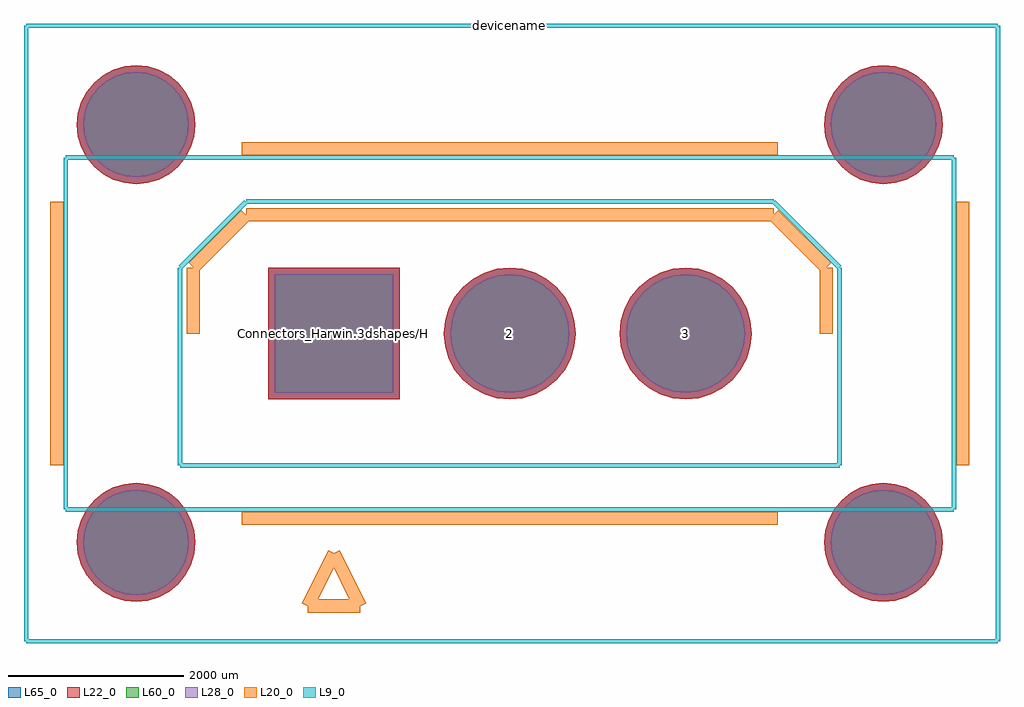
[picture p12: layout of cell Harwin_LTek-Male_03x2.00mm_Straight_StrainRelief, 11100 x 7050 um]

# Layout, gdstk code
import gdstk
lib = gdstk.Library(unit=1e-6, precision=1e-09)
def R(c, l, rs):  # rectangles x0, y0, x1, y1
    for r in rs: c.add(gdstk.rectangle(r[:2], r[2:], *l))
def P(c, l, *ps):  # polygons
    for p in ps: c.add(gdstk.Polygon(p, *l))
L9_0 = (9, 0)
L20_0 = (20, 0)
L22_0 = (22, 0)
L28_0 = (28, 0)
L60_0 = (60, 0)
L65_0 = (65, 0)

harwin_ltek_male_03x2_00 = lib.new_cell('Harwin_LTek-Male_03x2.00mm_Straight_StrainRelief')
R(harwin_ltek_male_03x2_00, L22_0, [(-750,-750,750,750)])
P(harwin_ltek_male_03x2_00, L22_0, [(6925,-2375),(6912.03,-2243.314),(6873.619,-2116.689),(6811.242,-1999.99),(6727.297,-1897.703),(6625.01,-1813.758),(6508.311,-1751.381),(6381.686,-1712.97),(6250,-1700),(6118.314,-1712.97),(5991.689,-1751.381),(5874.99,-1813.758),(5772.703,-1897.703),(5688.758,-1999.99),(5626.381,-2116.689),(5587.97,-2243.314),(5575,-2375),(5587.97,-2506.686),(5626.381,-2633.311),(5688.758,-2750.01),(5772.703,-2852.297),(5874.99,-2936.242),(5991.689,-2998.619),(6118.314,-3037.03),(6250,-3050),(6381.686,-3037.03),(6508.311,-2998.619),(6625.01,-2936.242),(6727.297,-2852.297),(6811.242,-2750.01),(6873.619,-2633.311),(6912.03,-2506.686)],
  [(6925,2375),(6912.03,2506.686),(6873.619,2633.311),(6811.242,2750.01),(6727.297,2852.297),(6625.01,2936.242),(6508.311,2998.619),(6381.686,3037.03),(6250,3050),(6118.314,3037.03),(5991.689,2998.619),(5874.99,2936.242),(5772.703,2852.297),(5688.758,2750.01),(5626.381,2633.311),(5587.97,2506.686),(5575,2375),(5587.97,2243.314),(5626.381,2116.689),(5688.758,1999.99),(5772.703,1897.703),(5874.99,1813.758),(5991.689,1751.381),(6118.314,1712.97),(6250,1700),(6381.686,1712.97),(6508.311,1751.381),(6625.01,1813.758),(6727.297,1897.703),(6811.242,1999.99),(6873.619,2116.689),(6912.03,2243.314)],
  [(-1575,-2375),(-1587.97,-2243.314),(-1626.381,-2116.689),(-1688.758,-1999.99),(-1772.703,-1897.703),(-1874.99,-1813.758),(-1991.689,-1751.381),(-2118.314,-1712.97),(-2250,-1700),(-2381.686,-1712.97),(-2508.311,-1751.381),(-2625.01,-1813.758),(-2727.297,-1897.703),(-2811.242,-1999.99),(-2873.619,-2116.689),(-2912.03,-2243.314),(-2925,-2375),(-2912.03,-2506.686),(-2873.619,-2633.311),(-2811.242,-2750.01),(-2727.297,-2852.297),(-2625.01,-2936.242),(-2508.311,-2998.619),(-2381.686,-3037.03),(-2250,-3050),(-2118.314,-3037.03),(-1991.689,-2998.619),(-1874.99,-2936.242),(-1772.703,-2852.297),(-1688.758,-2750.01),(-1626.381,-2633.311),(-1587.97,-2506.686)],
  [(-1575,2375),(-1587.97,2506.686),(-1626.381,2633.311),(-1688.758,2750.01),(-1772.703,2852.297),(-1874.99,2936.242),(-1991.689,2998.619),(-2118.314,3037.03),(-2250,3050),(-2381.686,3037.03),(-2508.311,2998.619),(-2625.01,2936.242),(-2727.297,2852.297),(-2811.242,2750.01),(-2873.619,2633.311),(-2912.03,2506.686),(-2925,2375),(-2912.03,2243.314),(-2873.619,2116.689),(-2811.242,1999.99),(-2727.297,1897.703),(-2625.01,1813.758),(-2508.311,1751.381),(-2381.686,1712.97),(-2250,1700),(-2118.314,1712.97),(-1991.689,1751.381),(-1874.99,1813.758),(-1772.703,1897.703),(-1688.758,1999.99),(-1626.381,2116.689),(-1587.97,2243.314)],
  [(4750,0),(4735.589,146.318),(4692.91,287.013),(4623.602,416.678),(4530.33,530.33),(4416.678,623.602),(4287.013,692.91),(4146.318,735.589),(4000,750),(3853.682,735.589),(3712.987,692.91),(3583.322,623.602),(3469.67,530.33),(3376.398,416.678),(3307.09,287.013),(3264.411,146.318),(3250,0),(3264.411,-146.318),(3307.09,-287.013),(3376.398,-416.678),(3469.67,-530.33),(3583.322,-623.602),(3712.987,-692.91),(3853.682,-735.589),(4000,-750),(4146.318,-735.589),(4287.013,-692.91),(4416.678,-623.602),(4530.33,-530.33),(4623.602,-416.678),(4692.91,-287.013),(4735.589,-146.318)],
  [(2750,0),(2735.589,146.318),(2692.91,287.013),(2623.602,416.678),(2530.33,530.33),(2416.678,623.602),(2287.013,692.91),(2146.318,735.589),(2000,750),(1853.682,735.589),(1712.987,692.91),(1583.322,623.602),(1469.67,530.33),(1376.398,416.678),(1307.09,287.013),(1264.411,146.318),(1250,0),(1264.411,-146.318),(1307.09,-287.013),(1376.398,-416.678),(1469.67,-530.33),(1583.322,-623.602),(1712.987,-692.91),(1853.682,-735.589),(2000,-750),(2146.318,-735.589),(2287.013,-692.91),(2416.678,-623.602),(2530.33,-530.33),(2623.602,-416.678),(2692.91,-287.013),(2735.589,-146.318)])
R(harwin_ltek_male_03x2_00, L28_0, [(-675,-675,675,675)])
P(harwin_ltek_male_03x2_00, L28_0, [(6850,-2375),(6838.471,-2257.946),(6804.328,-2145.39),(6748.882,-2041.658),(6674.264,-1950.736),(6583.342,-1876.118),(6479.61,-1820.672),(6367.054,-1786.529),(6250,-1775),(6132.946,-1786.529),(6020.39,-1820.672),(5916.658,-1876.118),(5825.736,-1950.736),(5751.118,-2041.658),(5695.672,-2145.39),(5661.529,-2257.946),(5650,-2375),(5661.529,-2492.054),(5695.672,-2604.61),(5751.118,-2708.342),(5825.736,-2799.264),(5916.658,-2873.882),(6020.39,-2929.328),(6132.946,-2963.471),(6250,-2975),(6367.054,-2963.471),(6479.61,-2929.328),(6583.342,-2873.882),(6674.264,-2799.264),(6748.882,-2708.342),(6804.328,-2604.61),(6838.471,-2492.054)],
  [(6850,2375),(6838.471,2492.054),(6804.328,2604.61),(6748.882,2708.342),(6674.264,2799.264),(6583.342,2873.882),(6479.61,2929.328),(6367.054,2963.471),(6250,2975),(6132.946,2963.471),(6020.39,2929.328),(5916.658,2873.882),(5825.736,2799.264),(5751.118,2708.342),(5695.672,2604.61),(5661.529,2492.054),(5650,2375),(5661.529,2257.946),(5695.672,2145.39),(5751.118,2041.658),(5825.736,1950.736),(5916.658,1876.118),(6020.39,1820.672),(6132.946,1786.529),(6250,1775),(6367.054,1786.529),(6479.61,1820.672),(6583.342,1876.118),(6674.264,1950.736),(6748.882,2041.658),(6804.328,2145.39),(6838.471,2257.946)],
  [(-1650,-2375),(-1661.529,-2257.946),(-1695.672,-2145.39),(-1751.118,-2041.658),(-1825.736,-1950.736),(-1916.658,-1876.118),(-2020.39,-1820.672),(-2132.946,-1786.529),(-2250,-1775),(-2367.054,-1786.529),(-2479.61,-1820.672),(-2583.342,-1876.118),(-2674.264,-1950.736),(-2748.882,-2041.658),(-2804.328,-2145.39),(-2838.471,-2257.946),(-2850,-2375),(-2838.471,-2492.054),(-2804.328,-2604.61),(-2748.882,-2708.342),(-2674.264,-2799.264),(-2583.342,-2873.882),(-2479.61,-2929.328),(-2367.054,-2963.471),(-2250,-2975),(-2132.946,-2963.471),(-2020.39,-2929.328),(-1916.658,-2873.882),(-1825.736,-2799.264),(-1751.118,-2708.342),(-1695.672,-2604.61),(-1661.529,-2492.054)],
  [(-1650,2375),(-1661.529,2492.054),(-1695.672,2604.61),(-1751.118,2708.342),(-1825.736,2799.264),(-1916.658,2873.882),(-2020.39,2929.328),(-2132.946,2963.471),(-2250,2975),(-2367.054,2963.471),(-2479.61,2929.328),(-2583.342,2873.882),(-2674.264,2799.264),(-2748.882,2708.342),(-2804.328,2604.61),(-2838.471,2492.054),(-2850,2375),(-2838.471,2257.946),(-2804.328,2145.39),(-2748.882,2041.658),(-2674.264,1950.736),(-2583.342,1876.118),(-2479.61,1820.672),(-2367.054,1786.529),(-2250,1775),(-2132.946,1786.529),(-2020.39,1820.672),(-1916.658,1876.118),(-1825.736,1950.736),(-1751.118,2041.658),(-1695.672,2145.39),(-1661.529,2257.946)],
  [(4675,0),(4662.03,131.686),(4623.619,258.311),(4561.242,375.01),(4477.297,477.297),(4375.01,561.242),(4258.311,623.619),(4131.686,662.03),(4000,675),(3868.314,662.03),(3741.689,623.619),(3624.99,561.242),(3522.703,477.297),(3438.758,375.01),(3376.381,258.311),(3337.97,131.686),(3325,0),(3337.97,-131.686),(3376.381,-258.311),(3438.758,-375.01),(3522.703,-477.297),(3624.99,-561.242),(3741.689,-623.619),(3868.314,-662.03),(4000,-675),(4131.686,-662.03),(4258.311,-623.619),(4375.01,-561.242),(4477.297,-477.297),(4561.242,-375.01),(4623.619,-258.311),(4662.03,-131.686)],
  [(2675,0),(2662.03,131.686),(2623.619,258.311),(2561.242,375.01),(2477.297,477.297),(2375.01,561.242),(2258.311,623.619),(2131.686,662.03),(2000,675),(1868.314,662.03),(1741.689,623.619),(1624.99,561.242),(1522.703,477.297),(1438.758,375.01),(1376.381,258.311),(1337.97,131.686),(1325,0),(1337.97,-131.686),(1376.381,-258.311),(1438.758,-375.01),(1522.703,-477.297),(1624.99,-561.242),(1741.689,-623.619),(1868.314,-662.03),(2000,-675),(2131.686,-662.03),(2258.311,-623.619),(2375.01,-561.242),(2477.297,-477.297),(2561.242,-375.01),(2623.619,-258.311),(2662.03,-131.686)])
R(harwin_ltek_male_03x2_00, L60_0, [(-675,-675,675,675)])
P(harwin_ltek_male_03x2_00, L60_0, [(6850,-2375),(6838.471,-2257.946),(6804.328,-2145.39),(6748.882,-2041.658),(6674.264,-1950.736),(6583.342,-1876.118),(6479.61,-1820.672),(6367.054,-1786.529),(6250,-1775),(6132.946,-1786.529),(6020.39,-1820.672),(5916.658,-1876.118),(5825.736,-1950.736),(5751.118,-2041.658),(5695.672,-2145.39),(5661.529,-2257.946),(5650,-2375),(5661.529,-2492.054),(5695.672,-2604.61),(5751.118,-2708.342),(5825.736,-2799.264),(5916.658,-2873.882),(6020.39,-2929.328),(6132.946,-2963.471),(6250,-2975),(6367.054,-2963.471),(6479.61,-2929.328),(6583.342,-2873.882),(6674.264,-2799.264),(6748.882,-2708.342),(6804.328,-2604.61),(6838.471,-2492.054)],
  [(6850,2375),(6838.471,2492.054),(6804.328,2604.61),(6748.882,2708.342),(6674.264,2799.264),(6583.342,2873.882),(6479.61,2929.328),(6367.054,2963.471),(6250,2975),(6132.946,2963.471),(6020.39,2929.328),(5916.658,2873.882),(5825.736,2799.264),(5751.118,2708.342),(5695.672,2604.61),(5661.529,2492.054),(5650,2375),(5661.529,2257.946),(5695.672,2145.39),(5751.118,2041.658),(5825.736,1950.736),(5916.658,1876.118),(6020.39,1820.672),(6132.946,1786.529),(6250,1775),(6367.054,1786.529),(6479.61,1820.672),(6583.342,1876.118),(6674.264,1950.736),(6748.882,2041.658),(6804.328,2145.39),(6838.471,2257.946)],
  [(-1650,-2375),(-1661.529,-2257.946),(-1695.672,-2145.39),(-1751.118,-2041.658),(-1825.736,-1950.736),(-1916.658,-1876.118),(-2020.39,-1820.672),(-2132.946,-1786.529),(-2250,-1775),(-2367.054,-1786.529),(-2479.61,-1820.672),(-2583.342,-1876.118),(-2674.264,-1950.736),(-2748.882,-2041.658),(-2804.328,-2145.39),(-2838.471,-2257.946),(-2850,-2375),(-2838.471,-2492.054),(-2804.328,-2604.61),(-2748.882,-2708.342),(-2674.264,-2799.264),(-2583.342,-2873.882),(-2479.61,-2929.328),(-2367.054,-2963.471),(-2250,-2975),(-2132.946,-2963.471),(-2020.39,-2929.328),(-1916.658,-2873.882),(-1825.736,-2799.264),(-1751.118,-2708.342),(-1695.672,-2604.61),(-1661.529,-2492.054)],
  [(-1650,2375),(-1661.529,2492.054),(-1695.672,2604.61),(-1751.118,2708.342),(-1825.736,2799.264),(-1916.658,2873.882),(-2020.39,2929.328),(-2132.946,2963.471),(-2250,2975),(-2367.054,2963.471),(-2479.61,2929.328),(-2583.342,2873.882),(-2674.264,2799.264),(-2748.882,2708.342),(-2804.328,2604.61),(-2838.471,2492.054),(-2850,2375),(-2838.471,2257.946),(-2804.328,2145.39),(-2748.882,2041.658),(-2674.264,1950.736),(-2583.342,1876.118),(-2479.61,1820.672),(-2367.054,1786.529),(-2250,1775),(-2132.946,1786.529),(-2020.39,1820.672),(-1916.658,1876.118),(-1825.736,1950.736),(-1751.118,2041.658),(-1695.672,2145.39),(-1661.529,2257.946)],
  [(4675,0),(4662.03,131.686),(4623.619,258.311),(4561.242,375.01),(4477.297,477.297),(4375.01,561.242),(4258.311,623.619),(4131.686,662.03),(4000,675),(3868.314,662.03),(3741.689,623.619),(3624.99,561.242),(3522.703,477.297),(3438.758,375.01),(3376.381,258.311),(3337.97,131.686),(3325,0),(3337.97,-131.686),(3376.381,-258.311),(3438.758,-375.01),(3522.703,-477.297),(3624.99,-561.242),(3741.689,-623.619),(3868.314,-662.03),(4000,-675),(4131.686,-662.03),(4258.311,-623.619),(4375.01,-561.242),(4477.297,-477.297),(4561.242,-375.01),(4623.619,-258.311),(4662.03,-131.686)],
  [(2675,0),(2662.03,131.686),(2623.619,258.311),(2561.242,375.01),(2477.297,477.297),(2375.01,561.242),(2258.311,623.619),(2131.686,662.03),(2000,675),(1868.314,662.03),(1741.689,623.619),(1624.99,561.242),(1522.703,477.297),(1438.758,375.01),(1376.381,258.311),(1337.97,131.686),(1325,0),(1337.97,-131.686),(1376.381,-258.311),(1438.758,-375.01),(1522.703,-477.297),(1624.99,-561.242),(1741.689,-623.619),(1868.314,-662.03),(2000,-675),(2131.686,-662.03),(2258.311,-623.619),(2375.01,-561.242),(2477.297,-477.297),(2561.242,-375.01),(2623.619,-258.311),(2662.03,-131.686)])
R(harwin_ltek_male_03x2_00, L65_0, [(-750,-750,750,750)])
P(harwin_ltek_male_03x2_00, L65_0, [(6925,-2375),(6912.03,-2243.314),(6873.619,-2116.689),(6811.242,-1999.99),(6727.297,-1897.703),(6625.01,-1813.758),(6508.311,-1751.381),(6381.686,-1712.97),(6250,-1700),(6118.314,-1712.97),(5991.689,-1751.381),(5874.99,-1813.758),(5772.703,-1897.703),(5688.758,-1999.99),(5626.381,-2116.689),(5587.97,-2243.314),(5575,-2375),(5587.97,-2506.686),(5626.381,-2633.311),(5688.758,-2750.01),(5772.703,-2852.297),(5874.99,-2936.242),(5991.689,-2998.619),(6118.314,-3037.03),(6250,-3050),(6381.686,-3037.03),(6508.311,-2998.619),(6625.01,-2936.242),(6727.297,-2852.297),(6811.242,-2750.01),(6873.619,-2633.311),(6912.03,-2506.686)],
  [(6925,2375),(6912.03,2506.686),(6873.619,2633.311),(6811.242,2750.01),(6727.297,2852.297),(6625.01,2936.242),(6508.311,2998.619),(6381.686,3037.03),(6250,3050),(6118.314,3037.03),(5991.689,2998.619),(5874.99,2936.242),(5772.703,2852.297),(5688.758,2750.01),(5626.381,2633.311),(5587.97,2506.686),(5575,2375),(5587.97,2243.314),(5626.381,2116.689),(5688.758,1999.99),(5772.703,1897.703),(5874.99,1813.758),(5991.689,1751.381),(6118.314,1712.97),(6250,1700),(6381.686,1712.97),(6508.311,1751.381),(6625.01,1813.758),(6727.297,1897.703),(6811.242,1999.99),(6873.619,2116.689),(6912.03,2243.314)],
  [(-1575,-2375),(-1587.97,-2243.314),(-1626.381,-2116.689),(-1688.758,-1999.99),(-1772.703,-1897.703),(-1874.99,-1813.758),(-1991.689,-1751.381),(-2118.314,-1712.97),(-2250,-1700),(-2381.686,-1712.97),(-2508.311,-1751.381),(-2625.01,-1813.758),(-2727.297,-1897.703),(-2811.242,-1999.99),(-2873.619,-2116.689),(-2912.03,-2243.314),(-2925,-2375),(-2912.03,-2506.686),(-2873.619,-2633.311),(-2811.242,-2750.01),(-2727.297,-2852.297),(-2625.01,-2936.242),(-2508.311,-2998.619),(-2381.686,-3037.03),(-2250,-3050),(-2118.314,-3037.03),(-1991.689,-2998.619),(-1874.99,-2936.242),(-1772.703,-2852.297),(-1688.758,-2750.01),(-1626.381,-2633.311),(-1587.97,-2506.686)],
  [(-1575,2375),(-1587.97,2506.686),(-1626.381,2633.311),(-1688.758,2750.01),(-1772.703,2852.297),(-1874.99,2936.242),(-1991.689,2998.619),(-2118.314,3037.03),(-2250,3050),(-2381.686,3037.03),(-2508.311,2998.619),(-2625.01,2936.242),(-2727.297,2852.297),(-2811.242,2750.01),(-2873.619,2633.311),(-2912.03,2506.686),(-2925,2375),(-2912.03,2243.314),(-2873.619,2116.689),(-2811.242,1999.99),(-2727.297,1897.703),(-2625.01,1813.758),(-2508.311,1751.381),(-2381.686,1712.97),(-2250,1700),(-2118.314,1712.97),(-1991.689,1751.381),(-1874.99,1813.758),(-1772.703,1897.703),(-1688.758,1999.99),(-1626.381,2116.689),(-1587.97,2243.314)],
  [(4750,0),(4735.589,146.318),(4692.91,287.013),(4623.602,416.678),(4530.33,530.33),(4416.678,623.602),(4287.013,692.91),(4146.318,735.589),(4000,750),(3853.682,735.589),(3712.987,692.91),(3583.322,623.602),(3469.67,530.33),(3376.398,416.678),(3307.09,287.013),(3264.411,146.318),(3250,0),(3264.411,-146.318),(3307.09,-287.013),(3376.398,-416.678),(3469.67,-530.33),(3583.322,-623.602),(3712.987,-692.91),(3853.682,-735.589),(4000,-750),(4146.318,-735.589),(4287.013,-692.91),(4416.678,-623.602),(4530.33,-530.33),(4623.602,-416.678),(4692.91,-287.013),(4735.589,-146.318)],
  [(2750,0),(2735.589,146.318),(2692.91,287.013),(2623.602,416.678),(2530.33,530.33),(2416.678,623.602),(2287.013,692.91),(2146.318,735.589),(2000,750),(1853.682,735.589),(1712.987,692.91),(1583.322,623.602),(1469.67,530.33),(1376.398,416.678),(1307.09,287.013),(1264.411,146.318),(1250,0),(1264.411,-146.318),(1307.09,-287.013),(1376.398,-416.678),(1469.67,-530.33),(1583.322,-623.602),(1712.987,-692.91),(1853.682,-735.589),(2000,-750),(2146.318,-735.589),(2287.013,-692.91),(2416.678,-623.602),(2530.33,-530.33),(2623.602,-416.678),(2692.91,-287.013),(2735.589,-146.318)])
harwin_ltek_male_03x2_00.add(gdstk.FlexPath([(300,-3100),(0,-2500)], 149.998, ends="flush", simple_path=True, layer=20, datatype=0))  # L20_0
harwin_ltek_male_03x2_00.add(gdstk.FlexPath([(-300,-3100),(300,-3100)], 149.998, ends="flush", simple_path=True, layer=20, datatype=0))  # L20_0
harwin_ltek_male_03x2_00.add(gdstk.FlexPath([(0,-2500),(-300,-3100)], 149.998, ends="flush", simple_path=True, layer=20, datatype=0))  # L20_0
harwin_ltek_male_03x2_00.add(gdstk.FlexPath([(5000,1350),(2000,1350)], 149.998, ends="flush", simple_path=True, layer=20, datatype=0))  # L20_0
harwin_ltek_male_03x2_00.add(gdstk.FlexPath([(5600,750),(5000,1350)], 149.998, ends="flush", simple_path=True, layer=20, datatype=0))  # L20_0
harwin_ltek_male_03x2_00.add(gdstk.FlexPath([(5600,0),(5600,750)], 149.998, ends="flush", simple_path=True, layer=20, datatype=0))  # L20_0
harwin_ltek_male_03x2_00.add(gdstk.FlexPath([(-1000,1350),(2000,1350)], 149.998, ends="flush", simple_path=True, layer=20, datatype=0))  # L20_0
harwin_ltek_male_03x2_00.add(gdstk.FlexPath([(-1600,750),(-1000,1350)], 149.998, ends="flush", simple_path=True, layer=20, datatype=0))  # L20_0
harwin_ltek_male_03x2_00.add(gdstk.FlexPath([(-1600,0),(-1600,750)], 149.998, ends="flush", simple_path=True, layer=20, datatype=0))  # L20_0
harwin_ltek_male_03x2_00.add(gdstk.FlexPath([(5750,-1500),(-1750,-1500)], 50, ends="flush", simple_path=True, layer=9, datatype=0))  # L9_0
harwin_ltek_male_03x2_00.add(gdstk.FlexPath([(5750,750),(5750,-1500)], 50, ends="flush", simple_path=True, layer=9, datatype=0))  # L9_0
harwin_ltek_male_03x2_00.add(gdstk.FlexPath([(5000,1500),(5750,750)], 50, ends="flush", simple_path=True, layer=9, datatype=0))  # L9_0
harwin_ltek_male_03x2_00.add(gdstk.FlexPath([(-1000,1500),(5000,1500)], 50, ends="flush", simple_path=True, layer=9, datatype=0))  # L9_0
harwin_ltek_male_03x2_00.add(gdstk.FlexPath([(-1750,750),(-1000,1500)], 50, ends="flush", simple_path=True, layer=9, datatype=0))  # L9_0
harwin_ltek_male_03x2_00.add(gdstk.FlexPath([(-1750,-1500),(-1750,750)], 50, ends="flush", simple_path=True, layer=9, datatype=0))  # L9_0
harwin_ltek_male_03x2_00.add(gdstk.FlexPath([(7050,2000),(-3050,2000)], 50, ends="flush", simple_path=True, layer=9, datatype=0))  # L9_0
harwin_ltek_male_03x2_00.add(gdstk.FlexPath([(7050,-2000),(7050,2000)], 50, ends="flush", simple_path=True, layer=9, datatype=0))  # L9_0
harwin_ltek_male_03x2_00.add(gdstk.FlexPath([(-3050,-2000),(7050,-2000)], 50, ends="flush", simple_path=True, layer=9, datatype=0))  # L9_0
harwin_ltek_male_03x2_00.add(gdstk.FlexPath([(-3050,2000),(-3050,-2000)], 50, ends="flush", simple_path=True, layer=9, datatype=0))  # L9_0
harwin_ltek_male_03x2_00.add(gdstk.FlexPath([(7550,3500),(-3500,3500)], 50, ends="flush", simple_path=True, layer=9, datatype=0))  # L9_0
harwin_ltek_male_03x2_00.add(gdstk.FlexPath([(7550,-3500),(7550,3500)], 50, ends="flush", simple_path=True, layer=9, datatype=0))  # L9_0
harwin_ltek_male_03x2_00.add(gdstk.FlexPath([(-3500,-3500),(7550,-3500)], 50, ends="flush", simple_path=True, layer=9, datatype=0))  # L9_0
harwin_ltek_male_03x2_00.add(gdstk.FlexPath([(-3500,3500),(-3500,-3500)], 50, ends="flush", simple_path=True, layer=9, datatype=0))  # L9_0
harwin_ltek_male_03x2_00.add(gdstk.FlexPath([(7150,1500),(7150,-1500)], 149.998, ends="flush", simple_path=True, layer=20, datatype=0))  # L20_0
harwin_ltek_male_03x2_00.add(gdstk.FlexPath([(-3150,1500),(-3150,-1500)], 149.998, ends="flush", simple_path=True, layer=20, datatype=0))  # L20_0
harwin_ltek_male_03x2_00.add(gdstk.FlexPath([(-1050,-2100),(5050,-2100)], 149.998, ends="flush", simple_path=True, layer=20, datatype=0))  # L20_0
harwin_ltek_male_03x2_00.add(gdstk.FlexPath([(-1050,2100),(5050,2100)], 149.998, ends="flush", simple_path=True, layer=20, datatype=0))  # L20_0
harwin_ltek_male_03x2_00.add(gdstk.Label('Connectors_Harwin.3dshapes/Harwin_LTek-Male_03x2.00mm_Straight_StrainRelief.wrl', (0,0), layer=12, texttype=0))
harwin_ltek_male_03x2_00.add(gdstk.Label('3', (4000,0), layer=28, texttype=0))
harwin_ltek_male_03x2_00.add(gdstk.Label('2', (2000,0), layer=28, texttype=0))
harwin_ltek_male_03x2_00.add(gdstk.Label('1', (0,0), layer=28, texttype=0))
harwin_ltek_male_03x2_00.add(gdstk.Label('type', (2000,-4000), layer=9, texttype=0))
harwin_ltek_male_03x2_00.add(gdstk.Label('devicename', (2000,3500), layer=9, texttype=0))

lib.write_gds('Harwin_LTek-Male_03x2.00mm_Straight_StrainRelief.gds')
